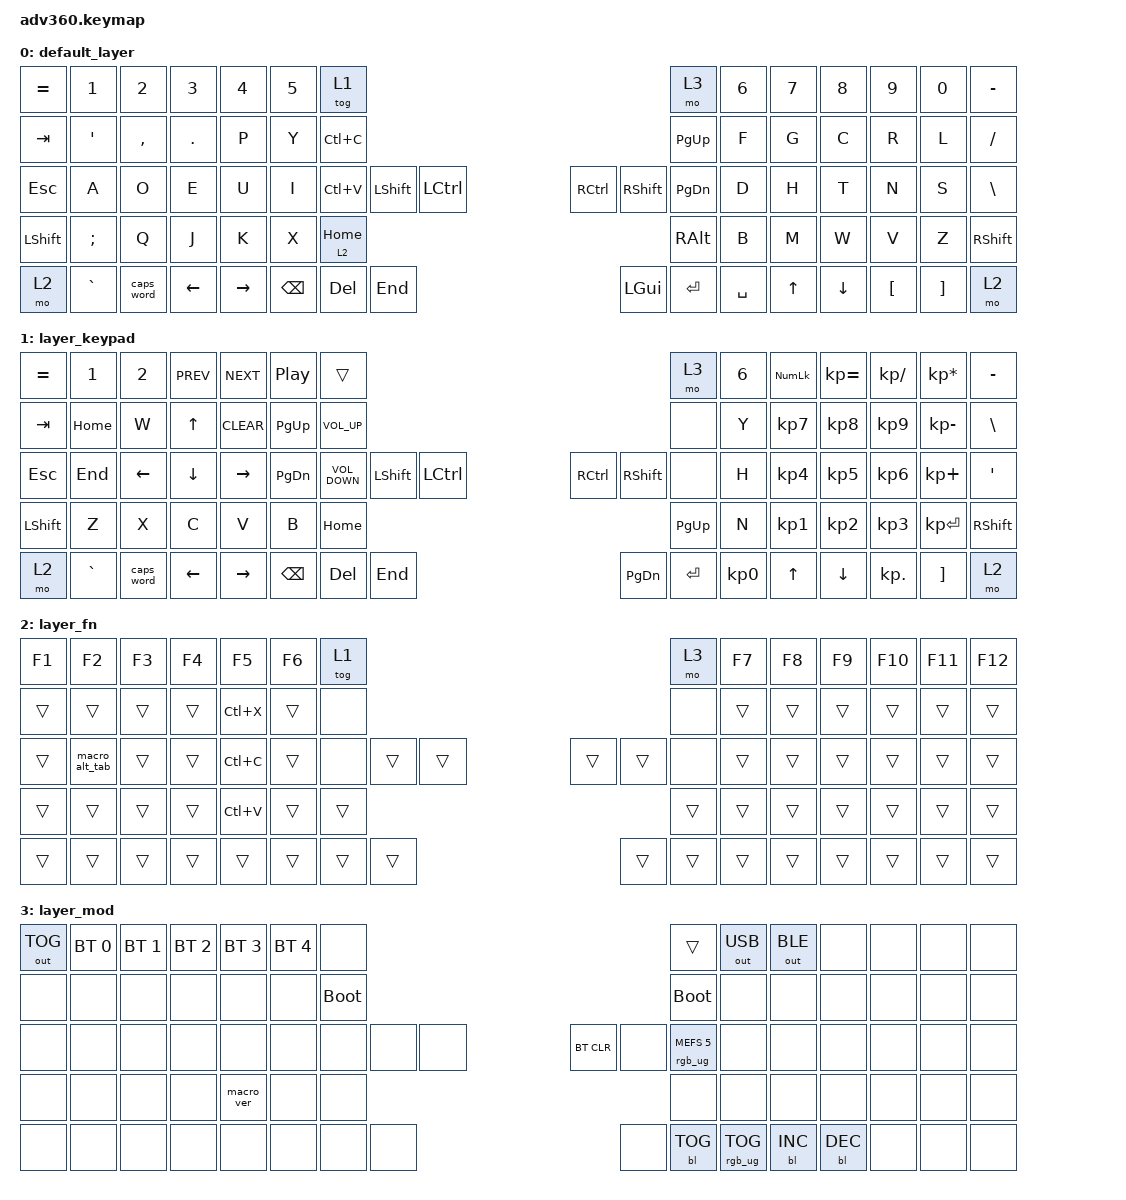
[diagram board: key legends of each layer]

/*
 * Copyright (c) 2020 The ZMK Contributors
 *
 * SPDX-License-Identifier: MIT
 */


/* THIS FILE WAS GENERATED!
 *
 * This file was generated automatically. You may or may not want to
 * edit it directly.
 */

#include <behaviors.dtsi>
#include <dt-bindings/zmk/keys.h>
#include <dt-bindings/zmk/outputs.h>
#include <dt-bindings/zmk/bt.h>
#include <dt-bindings/zmk/rgb.h>
#include <dt-bindings/zmk/backlight.h>

/ {
  behaviors {
    #include "macros.dtsi"
    #include "version.dtsi"

    hm: homerow_mods {
        compatible = "zmk,behavior-hold-tap";
        label = "HOMEROW_MODS";
        #binding-cells = <2>;
        tapping-term-ms = <200>;
        quick_tap_ms = <175>;
        flavor = "tap-preferred";
        bindings = <&kp>, <&kp>;
    };
  };

    keymap {
        compatible = "zmk,keymap";


        default_layer {
            bindings = <
 &kp EQUAL          &kp N1      &kp N2      &kp N3     &kp N4  &kp N5               &tog 1                                                                                      &mo 3  &kp N6  &kp N7    &kp N8    &kp N9    &kp N0  &kp MINUS
   &kp TAB  &kp APOSTROPHE   &kp COMMA  &kp PERIOD      &kp P   &kp Y            &kp LC(C)                                                                                &kp PAGE_UP   &kp F   &kp G     &kp C     &kp R     &kp L   &kp FSLH
   &kp ESC           &kp A       &kp O       &kp E      &kp U   &kp I            &kp LC(V)  &kp LEFT_SHIFT   &kp LCTRL                      &kp RCTRL  &kp RIGHT_SHIFT  &kp PAGE_DOWN   &kp D   &kp H     &kp T     &kp N     &kp S   &kp BSLH
 &kp LSHFT   &kp SEMICOLON       &kp Q       &kp J      &kp K   &kp X                                       &lt 2 HOME                  &kp RIGHT_ALT                                   &kp B   &kp M     &kp W     &kp V     &kp Z  &kp RSHFT
     &mo 2       &kp GRAVE  &caps_word    &kp LEFT  &kp RIGHT                     &kp BSPC         &kp DEL     &kp END                       &kp LGUI        &kp ENTER      &kp SPACE          &kp UP  &kp DOWN  &kp LBKT  &kp RBKT      &mo 2
            >;
        };

        layer_keypad {
            bindings = <
 &kp EQUAL     &kp N1      &kp N2  &kp C_PREV  &kp C_NEXT  &kp C_PLAY_PAUSE                       &trans                                                                             &mo 3  &kp N6  &kp KP_NUM  &kp KP_EQUAL  &kp KP_DIVIDE  &kp KP_MULTIPLY  &kp MINUS
   &kp TAB   &kp HOME       &kp W      &kp UP   &kp CLEAR       &kp PAGE_UP              &kp C_VOLUME_UP                                                                             &none   &kp Y   &kp KP_N7     &kp KP_N8      &kp KP_N9     &kp KP_MINUS   &kp BSLH
   &kp ESC    &kp END    &kp LEFT    &kp DOWN   &kp RIGHT     &kp PAGE_DOWN            &kp C_VOLUME_DOWN  &kp LEFT_SHIFT  &kp LCTRL                  &kp RCTRL  &kp RIGHT_SHIFT      &none   &kp H   &kp KP_N4     &kp KP_N5      &kp KP_N6      &kp KP_PLUS    &kp SQT
 &kp LSHFT      &kp Z       &kp X       &kp C       &kp V             &kp B                                                &kp HOME                  &kp PG_UP                               &kp N   &kp KP_N1     &kp KP_N2      &kp KP_N3     &kp KP_ENTER  &kp RSHFT
     &mo 2  &kp GRAVE  &caps_word    &kp LEFT   &kp RIGHT                                       &kp BSPC         &kp DEL    &kp END                  &kp PG_DN        &kp ENTER  &kp KP_N0              &kp UP      &kp DOWN     &kp KP_DOT         &kp RBKT      &mo 2
            >;
        };

        layer_fn {
            bindings = <
 &kp F1          &kp F2  &kp F3  &kp F4     &kp F5  &kp F6            &tog 1                                                   &mo 3  &kp F7  &kp F8  &kp F9  &kp F10  &kp F11  &kp F12
 &trans          &trans  &trans  &trans  &kp LC(X)  &trans             &none                                                   &none  &trans  &trans  &trans   &trans   &trans   &trans
 &trans  &macro_alt_tab  &trans  &trans  &kp LC(C)  &trans             &none  &trans  &trans                  &trans  &trans   &none  &trans  &trans  &trans   &trans   &trans   &trans
 &trans          &trans  &trans  &trans  &kp LC(V)  &trans                            &trans                  &trans                  &trans  &trans  &trans   &trans   &trans   &trans
 &trans          &trans  &trans  &trans     &trans                    &trans  &trans  &trans                  &trans  &trans  &trans          &trans  &trans   &trans   &trans   &trans
            >;
        };

        layer_mod {
            bindings = <
 &out OUT_TOG  &bt BT_SEL 0  &bt BT_SEL 1  &bt BT_SEL 2  &bt BT_SEL 3  &bt BT_SEL 4                  &none                                                                          &trans  &out OUT_USB  &out OUT_BLE       &none   &none   &none   &none
        &none         &none         &none         &none         &none         &none            &bootloader                                                                     &bootloader         &none         &none       &none   &none   &none   &none
        &none         &none         &none         &none         &none         &none                  &none   &none   &none                  &bt BT_CLR       &none  &rgb_ug RGB_MEFS_CMD 5         &none         &none       &none   &none   &none   &none
        &none         &none         &none         &none    &macro_ver         &none                                  &none                       &none                                             &none         &none       &none   &none   &none   &none
        &none         &none         &none         &none         &none                                &none   &none   &none                       &none  &bl BL_TOG         &rgb_ug RGB_TOG                  &bl BL_INC  &bl BL_DEC   &none   &none   &none
            >;
        };

    };
};
